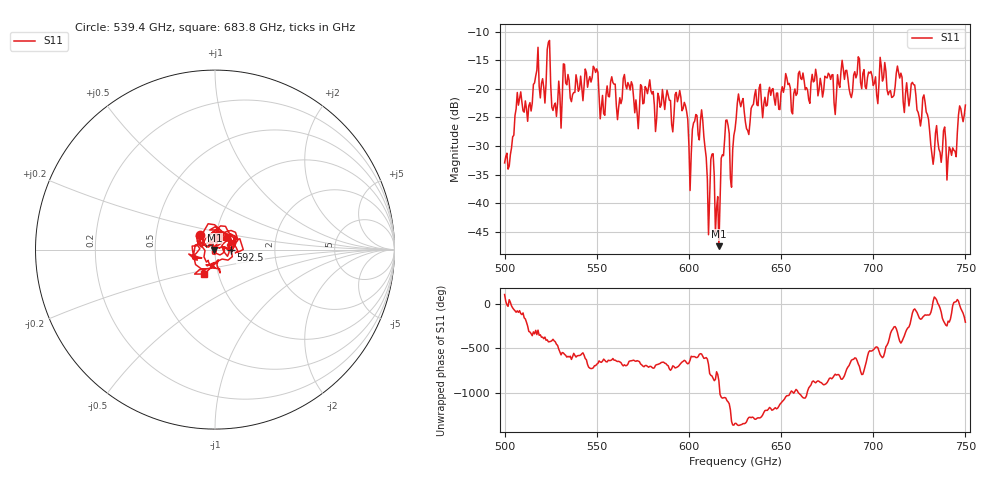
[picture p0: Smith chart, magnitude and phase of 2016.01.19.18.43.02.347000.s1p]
!Created with skrf (http://scikit-rf.org).
# GHz S RI R 50.0
!freq ReS11 ImS11
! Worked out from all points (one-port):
!   401 points, 500 GHz to 750 GHz, reference 50 ohm
!   lowest |S11| = -47.5 dB at 616.2 GHz (marker M1), VSWR 1.01, Z = 49.7 - j0.233 ohm
!   |S11| at or under -10 dB: start of sweep to end of sweep
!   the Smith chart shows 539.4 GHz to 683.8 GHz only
!   S11 on the Smith chart (normalised r, x): 539.4 GHz: 0.84, +0.14; 592.5 GHz: 1.20, -0.01; 683.8 GHz: 0.86, -0.24
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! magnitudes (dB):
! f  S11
! 500 GHz  -33.0
! 516.9 GHz  -17.8
! 526.9 GHz  -22.9
! 531.2 GHz  -21.8
! 539.4 GHz  -18.7
! 549.4 GHz  -17.1
! 553.1 GHz  -21.2
! 558.8 GHz  -18.9
! 562.5 GHz  -21.6
! 592.5 GHz  -21.0
! 593.8 GHz  -22.3
! 600.6 GHz  -37.8
! 607.5 GHz  -25.5
! 610 GHz  -35.8
! 616.2 GHz  -47.5
! 620 GHz  -25.5
! 623.1 GHz  -37.2
! 625 GHz  -27.1
! 628.1 GHz  -23.1
! 631.9 GHz  -27.3
! 637.5 GHz  -23.0
! 656.2 GHz  -24.4
! 683.8 GHz  -16.6
! 687.5 GHz  -21.0
! 705 GHz  -18.7
! 718.8 GHz  -21.1
! 741.2 GHz  -30.2
! 750 GHz  -22.9
